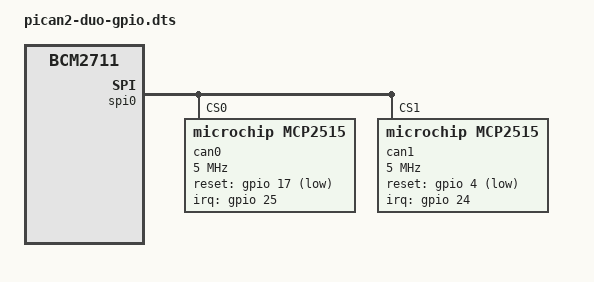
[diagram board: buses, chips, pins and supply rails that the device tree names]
/dts-v1/;
/plugin/;

/ {
    compatible = "brcm,bcm2711";

    /* Enable SPI0 */
    fragment@0 {
        target = <&spi0>;
        __overlay__ {
            status = "okay";
        };
    };

    /* Disable default SPI0.0 */
    fragment@1 {
        target = <&spidev0>;
        __overlay__ {
            status = "disabled";
        };
    };

    /* Disable default SPI0.1 */
    fragment@2 {
        target = <&spidev1>;
        __overlay__ {
            status = "disabled";
        };
    };

    /* Configure CAN0 */
    fragment@3 {
        target = <&spi0>;
        __overlay__ {
            #address-cells = <1>;
            #size-cells = <0>;

            can0: mcp2515@0 {
                reg = <0>;
                compatible = "microchip,mcp2515";
                pinctrl-names = "default";
                spi-max-frequency = <5000000>;
                interrupt-parent = <&gpio>;
                interrupts = <25 8>; /* GPIO 25, active low */
                oscillator-frequency = <16000000>;

                /* Ensure the controller has reset capabilities */
                reset-gpios = <&gpio 17 1>; /* GPIO 17, active low */
                
                /* Explicitly define the controller configuration */
                microchip,clock-out-frequency = <10000000>;
                microchip,clkout-prescaler = <1>;
                microchip,one-shot = <1>;
                microchip,wake-irq = <0>;
                microchip,rx-int = <1>;

                status = "okay";
            };
        };
    };

    /* Configure CAN1 */
    fragment@4 {
        target = <&spi0>;
        __overlay__ {
            #address-cells = <1>;
            #size-cells = <0>;

            can1: mcp2515@1 {
                reg = <1>;
                compatible = "microchip,mcp2515";
                pinctrl-names = "default";
                spi-max-frequency = <5000000>;
                interrupt-parent = <&gpio>;
                interrupts = <24 8>; /* GPIO 24, active low */
                oscillator-frequency = <16000000>;

                /* Ensure the controller has reset capabilities */
                reset-gpios = <&gpio 4 1>; /* GPIO 4, active low */
                
                /* Explicitly define the controller configuration */
                microchip,clock-out-frequency = <10000000>;
                microchip,clkout-prescaler = <1>;
                microchip,one-shot = <1>;
                microchip,wake-irq = <0>;
                microchip,rx-int = <1>;

                status = "okay";
            };
        };
    };
};
